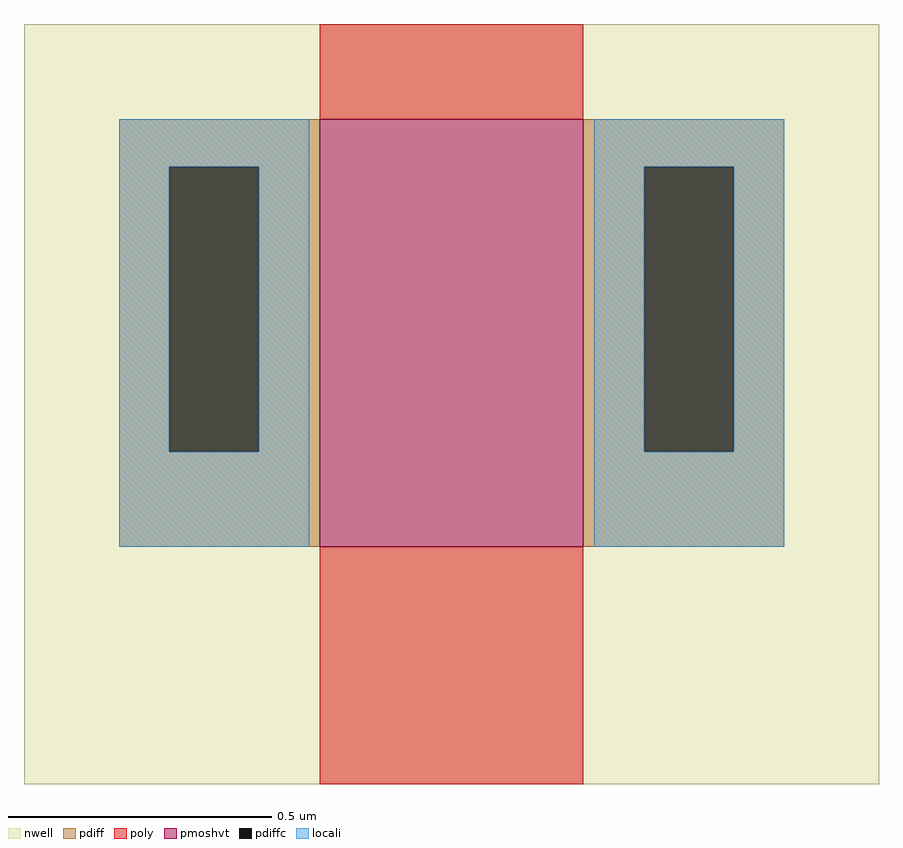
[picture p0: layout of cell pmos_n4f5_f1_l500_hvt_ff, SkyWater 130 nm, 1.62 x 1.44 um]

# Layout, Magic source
magic
tech sky130A
magscale 1 2
<< nwell >>
rect -72 -90 252 198
<< pmoshvt >>
rect 40 0 140 162
<< pdiff >>
rect -36 144 40 162
rect -36 36 -17 144
rect 17 36 40 144
rect -36 0 40 36
rect 140 144 216 162
rect 140 36 163 144
rect 197 36 216 144
rect 140 0 216 36
<< pdiffc >>
rect -17 36 17 144
rect 163 36 197 144
<< poly >>
rect 40 162 140 198
rect 40 -90 140 0
<< locali >>
rect -36 144 36 162
rect -36 36 -17 144
rect 17 36 36 144
rect -36 0 36 36
rect 144 144 216 162
rect 144 36 163 144
rect 197 36 216 144
rect 144 0 216 36
<< end >>
